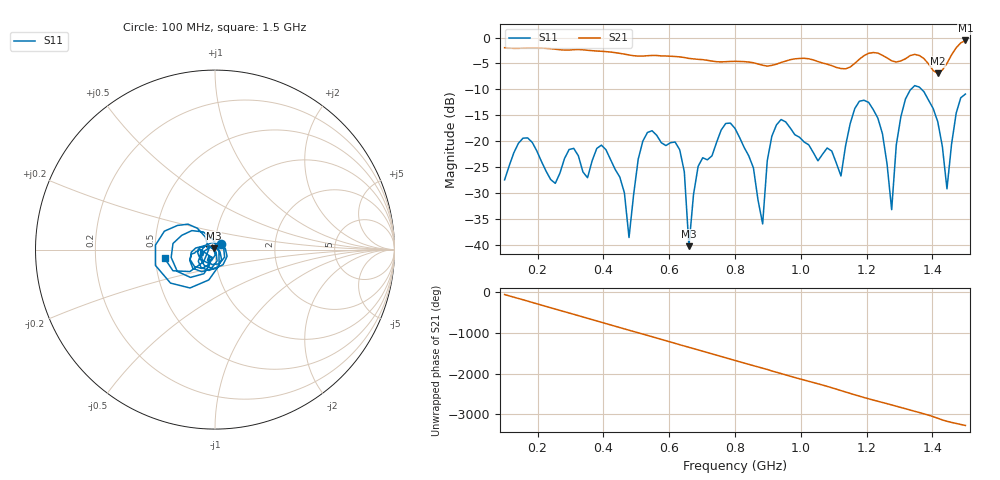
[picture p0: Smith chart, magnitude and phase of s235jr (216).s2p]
! NanoVNA-App
! Date: 2025-09-25 15:05:50
! Start: 100MHz Stop: 1,5GHz Points: 101
! S-Parameter data: F S11 S21 S12 S22
# Hz S RI R 50
!  Frequency  S11_Real  S11_Imag  S21_Real  S21_Imag  S12_Real  S12_Imag  S22_Real  S22_Imag
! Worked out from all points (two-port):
!   101 points, 100 MHz to 1.5 GHz, reference 50 ohm
!   highest |S21| = -0.57 dB at 1.5 GHz (marker M1); lowest = -6.9 dB at 1.416 GHz (marker M2)
!   |S21| within 3 dB of the highest: start of sweep to 502.8 MHz; 522.9 MHz to 591.2 MHz (68.31 MHz wide, 12.3 % of centre) (the widest 2 of 5)
!   lowest |S11| = -40.3 dB at 660 MHz (marker M3), VSWR 1.02, Z = 49.3 + j0.612 ohm
!   |S11| at or under -10 dB: start of sweep to 1.335 GHz; 1.367 GHz to end of sweep
!   S12 and S22 are empty: the file has one direction only
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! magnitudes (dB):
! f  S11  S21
! 100 MHz  -27.5  -2.0
! 156 MHz  -19.4  -2.0
! 338 MHz  -25.9  -2.4
! 408 MHz  -21.7  -2.7
! 478 MHz  -38.6  -3.4
! 520 MHz  -20.0  -3.6
! 576 MHz  -20.3  -3.5
! 632 MHz  -21.7  -3.7
! 660 MHz  -40.3  -4.0
! 688 MHz  -24.9  -4.2
! 800 MHz  -17.5  -4.6
! 884 MHz  -36.0  -5.3
! 926 MHz  -16.9  -5.1
! 1.038 GHz  -22.2  -4.3
! 1.122 GHz  -26.7  -6.0
! 1.206 GHz  -12.5  -3.0
! 1.248 GHz  -18.6  -3.4
! 1.276 GHz  -33.2  -4.5
! 1.318 GHz  -11.9  -4.1
! 1.416 GHz  -16.2  -6.9
! 1.444 GHz  -29.2  -5.0
! 1.5 GHz  -10.9  -0.6
